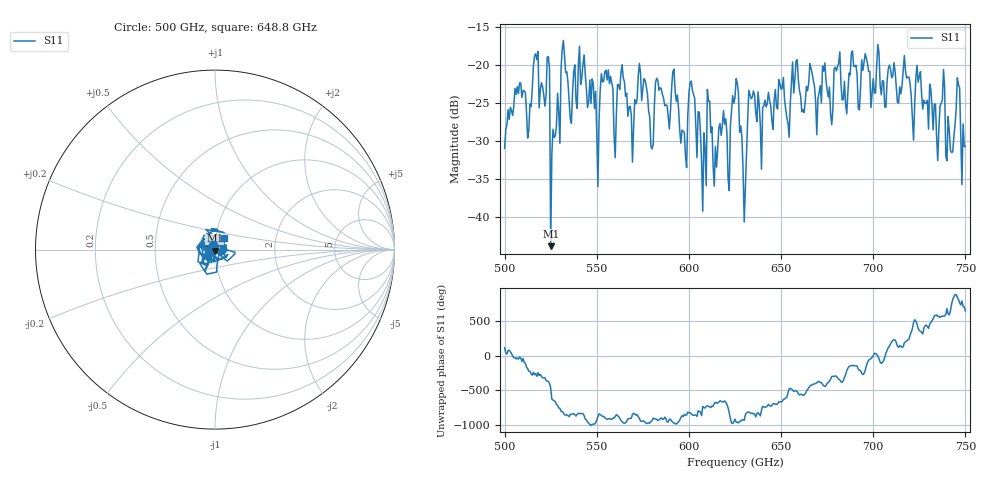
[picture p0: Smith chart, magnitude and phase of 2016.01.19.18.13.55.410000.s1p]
!Created with skrf (http://scikit-rf.org).
# GHz S RI R 50.0
!freq ReS11 ImS11
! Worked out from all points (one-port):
!   401 points, 500 GHz to 750 GHz, reference 50 ohm
!   lowest |S11| = -43.8 dB at 525 GHz (marker M1), VSWR 1.01, Z = 49.8 - j0.617 ohm
!   |S11| at or under -10 dB: start of sweep to end of sweep
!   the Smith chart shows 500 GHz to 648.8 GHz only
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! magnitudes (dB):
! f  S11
! 500 GHz  -31.0
! 507.5 GHz  -23.8
! 513.1 GHz  -28.6
! 516.9 GHz  -18.6
! 525 GHz  -43.8
! 526.2 GHz  -28.5
! 531.2 GHz  -18.0
! 541.9 GHz  -21.7
! 550 GHz  -28.8
! 553.8 GHz  -22.2
! 562.5 GHz  -23.2
! 568.8 GHz  -26.6
! 576.2 GHz  -22.0
! 579.4 GHz  -30.7
! 583.1 GHz  -22.0
! 593.8 GHz  -24.0
! 597.5 GHz  -28.9
! 601.9 GHz  -23.4
! 608.1 GHz  -28.9
! 611.2 GHz  -24.8
! 614.4 GHz  -30.7
! 625 GHz  -24.3
! 630 GHz  -40.6
! 633.8 GHz  -24.5
! 656.2 GHz  -19.6
! 687.5 GHz  -21.3
! 718.8 GHz  -21.6
! 750 GHz  -30.7
